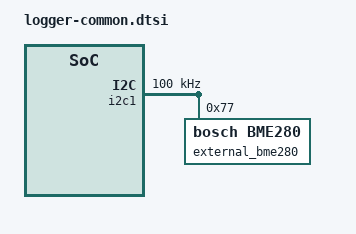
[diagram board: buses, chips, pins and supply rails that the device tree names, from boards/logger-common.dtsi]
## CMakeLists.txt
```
cmake_minimum_required(VERSION 3.20.0)
find_package(Zephyr REQUIRED HINTS $ENV{ZEPHYR_BASE})
project(link_logger LANGUAGES C)
target_include_directories(app PRIVATE include)
target_sources(app PRIVATE
  src/main.c src/app.c src/state.c src/sensors.c src/record.c
  src/timekeeping.c src/logging.c src/config.c src/com.c src/shell.c src/heartbeat.c)
target_compile_options(app PRIVATE -Wall -Wextra -Werror -Wformat=2)
```

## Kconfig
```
mainmenu "LINK environmental logger"
source "Kconfig.zephyr"
```

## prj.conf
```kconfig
# Sleep until a real event or the next active sampling/flush deadline.
CONFIG_TICKLESS_KERNEL=y
CONFIG_GPIO=y
CONFIG_I2C=y
CONFIG_SENSOR=y
CONFIG_BME280=y
CONFIG_BME280_MODE_FORCED=y
CONFIG_BME280_TEMP_OVER_1X=y
CONFIG_BME280_PRESS_OVER_1X=y
CONFIG_BME280_HUMIDITY_OVER_1X=y
CONFIG_BME280_FILTER_OFF=y

CONFIG_FLASH=y
CONFIG_FLASH_MAP=y
CONFIG_FLASH_PAGE_LAYOUT=y
CONFIG_FILE_SYSTEM=y
CONFIG_FILE_SYSTEM_LITTLEFS=y
CONFIG_FILE_SYSTEM_MKFS=y

CONFIG_SERIAL=y
CONFIG_CONSOLE=y
CONFIG_UART_CONSOLE=y
CONFIG_USB_DEVICE_STACK=y
CONFIG_USB_DEVICE_INITIALIZE_AT_BOOT=y
CONFIG_USB_CDC_ACM=y
CONFIG_UART_LINE_CTRL=y
CONFIG_USB_DEVICE_PRODUCT="LINK BME280 Logger"
CONFIG_SHELL=y
CONFIG_SHELL_BACKEND_SERIAL=y
# com.c checks DTR without the shell backend's periodic polling timer.
CONFIG_SHELL_BACKEND_SERIAL_CHECK_DTR=n
CONFIG_SHELL_BACKEND_SERIAL_RX_RING_BUFFER_SIZE=256
CONFIG_SHELL_BACKEND_SERIAL_TX_RING_BUFFER_SIZE=1024
CONFIG_SHELL_STACK_SIZE=3072
CONFIG_SHELL_CMD_BUFF_SIZE=160
# Plain serial output for terminal capture, including after reboot.
CONFIG_SHELL_PROMPT_UART=""
# Bind the empty default directly; this Zephyr pin rejects empty runtime prompts.
CONFIG_SHELL_PROMPT_CHANGE=n
CONFIG_SHELL_VT100_COLORS=n
CONFIG_SHELL_VT100_COMMANDS=n
CONFIG_SHELL_CMDS_SELECT=y
CONFIG_SHELL_CMDS=y
CONFIG_LOG=y
CONFIG_LOG_MODE_DEFERRED=y
CONFIG_LOG_RUNTIME_FILTERING=y
CONFIG_LOG_MAX_LEVEL=4
CONFIG_LOG_DEFAULT_LEVEL=3
CONFIG_LOG_BACKEND_UART=n
CONFIG_SHELL_LOG_BACKEND=y
CONFIG_LOG_CMDS=n
CONFIG_LOG_BUFFER_SIZE=2048

CONFIG_MAIN_STACK_SIZE=4096
CONFIG_SYSTEM_WORKQUEUE_STACK_SIZE=1536
CONFIG_HEAP_MEM_POOL_SIZE=0
CONFIG_THREAD_NAME=y
CONFIG_ASSERT=y
CONFIG_REBOOT=y
CONFIG_BT=n
CONFIG_NETWORKING=n

# Only the application core is used; SWD flashing replaces the factory bootloader.
CONFIG_BOOTLOADER_MCUBOOT=n
CONFIG_BOARD_ENABLE_CPUNET=n
CONFIG_NORDIC_QSPI_NOR=y
CONFIG_PM_DEVICE=y
CONFIG_PM_DEVICE_RUNTIME=y

CONFIG_SHELL_BACKEND_SERIAL_LOG_LEVEL_INF=y
CONFIG_LOG_BLOCK_IN_THREAD=n
CONFIG_LOG_PROCESS_TRIGGER_THRESHOLD=1

# QSPI flash has its own driver; no SPI sensor or bus is used.
CONFIG_SPI=n
```

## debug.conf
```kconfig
CONFIG_DEBUG=y
CONFIG_DEBUG_OPTIMIZATIONS=y
CONFIG_DEBUG_THREAD_INFO=y
CONFIG_THREAD_MONITOR=y
```

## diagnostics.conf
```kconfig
# Opt-in hardware diagnostics; normal logger builds do not expose I2C commands.
CONFIG_I2C_SHELL=y
```

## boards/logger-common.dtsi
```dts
/* Both supported boards have an 8 MiB MX25R64 QSPI device. */
/delete-node/ &storage_partition;

/ {
	aliases {
		environment-sensor = &external_bme280;
	};

	chosen {
		/delete-property/ zephyr,bt-hci;
		/delete-property/ zephyr,bt-hci-ipc;
		/delete-property/ zephyr,bt-mon-uart;
		/delete-property/ zephyr,bt-c2h-uart;
		/delete-property/ nordic,802154-spinel-ipc;
		/delete-property/ zephyr,ieee802154;
	};
};

&mx25r64 {
	zephyr,pm-device-runtime-auto;

	partitions {
		compatible = "fixed-partitions";
		#address-cells = <1>;
		#size-cells = <1>;

		/* Leave lower 4 MiB, including Thingy factory DFU slots, alone. */
		storage_partition: partition@400000 {
			label = "logger-storage";
			reg = <0x400000 0x400000>;
		};
	};
};

&i2c1 {
	compatible = "nordic,nrf-twim";
	status = "okay";
	clock-frequency = <I2C_BITRATE_STANDARD>;
	pinctrl-0 = <&logger_i2c_default>;
	pinctrl-1 = <&logger_i2c_sleep>;
	pinctrl-names = "default", "sleep";

	external_bme280: bme280@77 {
		compatible = "bosch,bme280";
		reg = <0x77>;
	};
};

/* UART1/SPI1 share I2C1's peripheral instance. Console is USB CDC ACM. */
&uart1 { status = "disabled"; };
&spi1 { status = "disabled"; };
&uart0 { status = "disabled"; };
&spi0 { status = "disabled"; };
&i2c0 { status = "disabled"; };
&adc { status = "disabled"; };
&pwm0 { status = "disabled"; };
&spi4 { status = "disabled"; };
&gpio_fwd { status = "disabled"; };
&bt_hci_ipc0 { status = "disabled"; };
&ieee802154 { status = "disabled"; };
```

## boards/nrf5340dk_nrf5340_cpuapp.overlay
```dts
#include <../boards/common/usb/cdc_acm_serial.dtsi>
#include "logger-common.dtsi"

/* CDC ACM is on the DK's nRF USB connector, not its J-Link USB connector. */
/ {
	aliases {
		heartbeat-led = &led0;
	};
};

&pinctrl {
	logger_i2c_default: logger_i2c_default {
		group1 {
			psels = <NRF_PSEL(TWIM_SCL, 1, 3)>,
				<NRF_PSEL(TWIM_SDA, 1, 2)>;
		};
	};

	logger_i2c_sleep: logger_i2c_sleep {
		group1 {
			psels = <NRF_PSEL(TWIM_SCL, 1, 3)>,
				<NRF_PSEL(TWIM_SDA, 1, 2)>;
			low-power-enable;
		};
	};
};
```

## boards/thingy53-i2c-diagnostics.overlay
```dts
/* The normal sensor bus is I2C1 on TP4/TP5. Optionally expose the edge bus too. */
&pinctrl {
	diagnostic_i2c_default: diagnostic_i2c_default {
		group1 {
			psels = <NRF_PSEL(TWIM_SCL, 0, 5)>,
				<NRF_PSEL(TWIM_SDA, 0, 4)>;
		};
	};

	diagnostic_i2c_sleep: diagnostic_i2c_sleep {
		group1 {
			psels = <NRF_PSEL(TWIM_SCL, 0, 5)>,
				<NRF_PSEL(TWIM_SDA, 0, 4)>;
			low-power-enable;
		};
	};
};

&i2c0 {
	compatible = "nordic,nrf-twim";
	status = "okay";
	clock-frequency = <I2C_BITRATE_STANDARD>;
	pinctrl-0 = <&diagnostic_i2c_default>;
	pinctrl-1 = <&diagnostic_i2c_sleep>;
	pinctrl-names = "default", "sleep";
};
```

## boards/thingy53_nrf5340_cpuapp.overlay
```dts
#include "logger-common.dtsi"

/* Hardware 1.1.0 schematic: TP4 = SDA/P1.02, TP5 = SCL/P1.03. */
/ {
	aliases {
		heartbeat-led = &green_led;
	};
};

&pinctrl {
	logger_i2c_default: logger_i2c_default {
		group1 {
			psels = <NRF_PSEL(TWIM_SCL, 1, 3)>,
				<NRF_PSEL(TWIM_SDA, 1, 2)>;
		};
	};

	logger_i2c_sleep: logger_i2c_sleep {
		group1 {
			psels = <NRF_PSEL(TWIM_SCL, 1, 3)>,
				<NRF_PSEL(TWIM_SDA, 1, 2)>;
			low-power-enable;
		};
	};
};

/* Keep board-default rails enabled: 3V3 powers the green LED, and the switched
 * sensor rail powers the TP4/TP5 bus pull-ups. QSPI still uses DPD.
 */

&bme688 { status = "disabled"; };
&bmm150 { status = "disabled"; };
&bh1749 { status = "disabled"; };
&adxl362 { status = "disabled"; };
&bmi270 { status = "disabled"; };
&spi3 { status = "disabled"; };
&pwm1 { status = "disabled"; };
&vbatt { status = "disabled"; };
&fuel_gauge { status = "disabled"; };
```

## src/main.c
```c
#include "app.h"

int main(void)
{
	app_run();
	return 0;
}
```

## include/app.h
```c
#ifndef LOGGER_APP_H_
#define LOGGER_APP_H_

#include <stdint.h>

enum app_command_type {
	APP_STATUS,
	APP_LOG_START,
	APP_LOG_STOP,
	APP_LOG_FLUSH,
	APP_LOG_LIST,
	APP_LOG_DUMP,
	APP_STREAM_START,
	APP_STREAM_STOP,
	APP_TIME_GET,
	APP_TIME_SET,
	APP_CONFIG_SHOW,
	APP_CONFIG_LOG_RATE,
	APP_CONFIG_STREAM_RATE,
	APP_CONFIG_FLUSH_RATE,
	APP_CONFIG_SAVE,
	APP_STORAGE_FORMAT,
};

struct app_command {
	enum app_command_type type;
	uint32_t value;
	char text[48];
};

/* Copies the command; never waits for the application worker. */
int app_submit(const struct app_command *command);
void app_run(void);

#endif /* LOGGER_APP_H_ */
```

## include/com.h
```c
#ifndef LOGGER_COM_H_
#define LOGGER_COM_H_

#include <stdbool.h>
#include <stdint.h>

struct sensor_record;

void com_init(void);
bool com_ready(void);
void com_print(const char *fmt, ...) __attribute__((format(printf, 1, 2)));

/* Enqueue a line with a bounded wait; negative errno means it was not accepted. */
int com_emit(const char *line, void *context);

/* Sampling never waits for the USB host. A full queue drops this stream record. */
int com_stream(const struct sensor_record *record);
uint32_t com_dropped_count(void);

#endif /* LOGGER_COM_H_ */
```

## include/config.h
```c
#ifndef LOGGER_CONFIG_H
#define LOGGER_CONFIG_H

#include <stdbool.h>
#include <stdint.h>

struct logger_config {
	uint32_t log_rate_ms;
	uint32_t stream_rate_ms;
	uint32_t flush_rate_ms;
};

void config_defaults(struct logger_config *config);
bool config_rate_valid(uint32_t rate_ms);
/* Application thread only. A failed load leaves the supplied config intact. */
int config_load(struct logger_config *config);
int config_save(const struct logger_config *config);

#endif
```

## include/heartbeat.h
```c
#ifndef LOGGER_HEARTBEAT_H
#define LOGGER_HEARTBEAT_H

/* Call once from the application thread. First 100 ms pulse follows after 10 s. */
int heartbeat_init(void);

#endif
```

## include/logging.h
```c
#ifndef LOGGER_LOGGING_H
#define LOGGER_LOGGING_H

#include <stdbool.h>

struct sensor_record;

#define LOG_NAME_MAX 48
#define LOG_MOUNT_POINT "/lfs"

typedef int (*log_emit_fn)(const char *line, void *context);

/* All calls belong to the application thread. Mounting never formats flash. */
int logging_init(void);
bool logging_ready(void);
int logging_format(void);
int logging_start(const char *name);
int logging_append(const struct sensor_record *record);
int logging_flush(void);
/* Always attempts close, even if the final sync fails. */
int logging_stop(void);
int logging_list(log_emit_fn emit, void *context);
int logging_dump(const char *name, log_emit_fn emit, void *context);

#endif
```

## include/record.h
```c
#ifndef LOGGER_RECORD_H
#define LOGGER_RECORD_H

#include <stddef.h>
#include <stdint.h>

#define RECORD_CSV_HEADER "uptime_ms,epoch_ms,temperature_C,humidity_pct,pressure_hPa"
#define RECORD_LEGACY_CSV_HEADER "uptime_ms,epoch_ms,temperature_mC,humidity_mpercent,pressure_Pa"
#define RECORD_STREAM_HEADER RECORD_CSV_HEADER
#define RECORD_TEXT_SIZE 112U

struct sensor_record {
	int64_t uptime_ms;
	/* -1 means UTC has not been set since boot. */
	int64_t epoch_ms;
	int32_t temperature_mc;
	int32_t humidity_mpct;
	int32_t pressure_pa;
};

/* CSV in degrees C, percent RH and hPa. Returns length or negative errno; no newline. */
int record_format(const struct sensor_record *record, char *buffer, size_t size);

/* Parse an old integer CSV row without a newline; output is unchanged on error. */
int record_parse_legacy(const char *line, struct sensor_record *record);

#endif
```

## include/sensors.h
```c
#ifndef LOGGER_SENSORS_H
#define LOGGER_SENSORS_H

struct sensor_record;

/* Application thread only; failed reads leave the record unchanged. */
int sensors_init(void);
int sensors_read(struct sensor_record *record);

#endif
```

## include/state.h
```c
#ifndef LOGGER_STATE_H
#define LOGGER_STATE_H

#include <stdbool.h>

enum app_state { STATE_IDLE, STATE_LOGGING, STATE_STREAMING, STATE_BOTH };
enum state_event { STATE_START_LOG, STATE_STOP_LOG, STATE_START_STREAM, STATE_STOP_STREAM };

/* Commit the returned state only after the requested resource operation succeeds. */
enum app_state state_next(enum app_state current, enum state_event event);
bool state_logs(enum app_state state);
bool state_streams(enum app_state state);
const char *state_name(enum app_state state);

#endif
```

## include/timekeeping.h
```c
#ifndef LOGGER_TIMEKEEPING_H
#define LOGGER_TIMEKEEPING_H

#include <stddef.h>
#include <stdint.h>

/* All calls belong to the application thread. No hardware RTC is assumed. */
void timekeeping_reset(void);
/* UTC only: exact YYYY-MM-DDTHH:MM:SSZ, years 1970..9999. */
int timekeeping_set(const char *iso, int64_t uptime_ms);
/* Returns -1 when unset, before the anchor, or outside the supported range. */
int64_t timekeeping_epoch_ms(int64_t uptime_ms);
/* Formats UTC to whole seconds, or "unset" for -1. Returns 0 or negative errno. */
int timekeeping_format(int64_t epoch_ms, char *buffer, size_t size);

#endif
```

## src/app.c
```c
#include "app.h"
#include "com.h"
#include "config.h"
#include "heartbeat.h"
#include "logging.h"
#include "record.h"
#include "sensors.h"
#include "state.h"
#include "timekeeping.h"

#include <errno.h>
#include <inttypes.h>
#include <limits.h>
#include <string.h>
#include <zephyr/kernel.h>
#include <zephyr/logging/log.h>

LOG_MODULE_REGISTER(app, LOG_LEVEL_DBG);
K_MSGQ_DEFINE(commands, sizeof(struct app_command), 8, 4);

/* This thread alone owns application state, the clock and all filesystem IO. */
static struct {
	enum app_state state;
	struct logger_config config;
	int64_t next_log;
	int64_t next_stream;
	int64_t next_flush;
	uint32_t sensor_errors;
	int last_error;
	bool sensor_ready;
} app;

int app_submit(const struct app_command *command)
{
	if (command == NULL || (unsigned int)command->type > APP_STORAGE_FORMAT ||
	    memchr(command->text, '\0', sizeof(command->text)) == NULL) {
		return -EINVAL;
	}
	return k_msgq_put(&commands, command, K_NO_WAIT);
}

static void stop_recording_on_error(int error)
{
	/* A storage failure must leave independent streaming running. */
	int close_error = logging_stop();

	app.state = state_next(app.state, STATE_STOP_LOG);
	app.last_error = error;
	LOG_ERR("Recording stopped: %d (close: %d)", error, close_error);
	com_print("Recording stopped: %d; state=%s", error, state_name(app.state));
}

static int change_rate(enum app_command_type type, uint32_t value)
{
	if (!config_rate_valid(value)) {
		return -ERANGE;
	}
	int64_t now = k_uptime_get();

	switch (type) {
	case APP_CONFIG_LOG_RATE:
		app.config.log_rate_ms = value;
		app.next_log = now + value;
		break;
	case APP_CONFIG_STREAM_RATE:
		app.config.stream_rate_ms = value;
		app.next_stream = now + value;
		break;
	case APP_CONFIG_FLUSH_RATE:
		app.config.flush_rate_ms = value;
		app.next_flush = now + value;
		break;
	default:
		return -EINVAL;
	}
	return 0;
}

static int handle_command(const struct app_command *command)
{
	int err;
	int64_t now = k_uptime_get();

	switch (command->type) {
	case APP_STATUS:
		com_print("state=%s sensor=%s storage=%s last_error=%d sensor_errors=%" PRIu32
			  " output_dropped=%" PRIu32,
			  state_name(app.state), app.sensor_ready ? "ready" : "unavailable",
			  logging_ready() ? "ready" : "unavailable", app.last_error,
			  app.sensor_errors, com_dropped_count());
		return 0;
	case APP_LOG_START:
		if (state_logs(app.state)) {
			return -EALREADY;
		}
		if (!app.sensor_ready) {
			return -ENODEV;
		}
		err = logging_start(command->text[0] ? command->text : "readings.csv");
		if (err != 0) {
			return err;
		}
		app.state = state_next(app.state, STATE_START_LOG);
		app.next_log =
		    state_streams(app.state) && app.config.log_rate_ms == app.config.stream_rate_ms
			? app.next_stream
			: now;
		app.next_flush = now + app.config.flush_rate_ms;
		return 0;
	case APP_LOG_STOP:
		if (!state_logs(app.state)) {
			return 0;
		}
		err = logging_stop();
		app.state = state_next(app.state, STATE_STOP_LOG);
		return err;
	case APP_LOG_FLUSH:
		err = logging_flush();
		if (err != 0 && state_logs(app.state)) {
			stop_recording_on_error(err);
		}
		return err;
	case APP_STREAM_START:
		if (!app.sensor_ready) {
			return -ENODEV;
		}
		if (state_streams(app.state)) {
			return -EALREADY;
		}
		app.state = state_next(app.state, STATE_START_STREAM);
		app.next_stream =
		    state_logs(app.state) && app.config.stream_rate_ms == app.config.log_rate_ms
			? app.next_log
			: now;
		com_print(RECORD_STREAM_HEADER);
		return 0;
	case APP_STREAM_STOP:
		app.state = state_next(app.state, STATE_STOP_STREAM);
		return 0;
	case APP_LOG_LIST:
	case APP_LOG_DUMP:
		if (app.state != STATE_IDLE) {
			return -EBUSY;
		}
		return command->type == APP_LOG_LIST ? logging_list(com_emit, NULL)
						     : logging_dump(command->text, com_emit, NULL);
	case APP_TIME_SET:
		return timekeeping_set(command->text, now);
	case APP_TIME_GET: {
		char timestamp[24];
		int64_t epoch_ms = timekeeping_epoch_ms(now);

		err = timekeeping_format(epoch_ms, timestamp, sizeof(timestamp));
		if (err == 0) {
			com_print("UTC=%s epoch_ms=%" PRId64 " uptime_ms=%" PRId64, timestamp,
				  epoch_ms, now);
		}
		return err;
	}
	case APP_CONFIG_SHOW:
		com_print(
		    "log_rate_ms=%" PRIu32 " stream_rate_ms=%" PRIu32 " flush_rate_ms=%" PRIu32,
		    app.config.log_rate_ms, app.config.stream_rate_ms, app.config.flush_rate_ms);
		return 0;
	case APP_CONFIG_LOG_RATE:
	case APP_CONFIG_STREAM_RATE:
	case APP_CONFIG_FLUSH_RATE:
		return change_rate(command->type, command->value);
	case APP_CONFIG_SAVE:
		return config_save(&app.config);
	case APP_STORAGE_FORMAT:
		if (app.state != STATE_IDLE || strcmp(command->text, "CONFIRM") != 0) {
			return -EPERM;
		}
		err = logging_format();
		if (err == 0) {
			config_defaults(&app.config);
		}
		return err;
	default:
		return -EINVAL;
	}
}

/* Preserve cadence during normal conversions; skip missed slots after a stall. */
static int64_t next_sample_deadline(int64_t previous, uint32_t period_ms, int64_t now)
{
	int64_t next = previous + period_ms;
	return next > now ? next : now + period_ms;
}

static void sample_if_due(int64_t now)
{
	bool log_due = state_logs(app.state) && now >= app.next_log;
	bool stream_due = state_streams(app.state) && now >= app.next_stream;

	if (log_due || stream_due) {
		struct sensor_record record = {0};
		int err = sensors_read(&record);
		int64_t acquired = k_uptime_get();

		/* No catch-up bursts after a slow peripheral operation. */
		if (log_due) {
			app.next_log =
			    next_sample_deadline(app.next_log, app.config.log_rate_ms, acquired);
		}
		if (stream_due) {
			app.next_stream = next_sample_deadline(app.next_stream,
							       app.config.stream_rate_ms, acquired);
		}
		if (err == 0) {
			record.uptime_ms = acquired;
			record.epoch_ms = timekeeping_epoch_ms(acquired);
			if (log_due) {
				err = logging_append(&record);
				if (err != 0) {
					stop_recording_on_error(err);
				}
			}
			if (stream_due) {
				/* Output loss is counted by com; recording remains independent. */
				(void)com_stream(&record);
			}
		} else {
			app.sensor_errors++;
			app.last_error = err;
			LOG_WRN("Sensor read failed: %d", err);
		}
	}
	if (state_logs(app.state) && k_uptime_get() >= app.next_flush) {
		int err = logging_flush();

		app.next_flush = k_uptime_get() + app.config.flush_rate_ms;
		if (err != 0) {
			stop_recording_on_error(err);
		}
	}
}

static k_timeout_t next_timeout(void)
{
	int64_t deadline = INT64_MAX;

	if (state_logs(app.state)) {
		deadline = MIN(app.next_log, app.next_flush);
	}
	if (state_streams(app.state)) {
		deadline = MIN(deadline, app.next_stream);
	}
	return deadline == INT64_MAX ? K_FOREVER : K_MSEC(MAX(0, deadline - k_uptime_get()));
}

void app_run(void)
{
	struct app_command command;
	int err;

	k_thread_name_set(k_current_get(), "application");
	com_init();
	err = heartbeat_init();
	if (err != 0) {
		LOG_WRN("Power LED unavailable: %d", err);
	}
	config_defaults(&app.config);
	err = sensors_init();
	app.sensor_ready = (err == 0);
	if (err != 0) {
		app.last_error = err;
		LOG_ERR("BME280 unavailable: %d", err);
	}
	err = logging_init();
	if (err == 0) {
		err = config_load(&app.config);
		if (err != 0 && err != -ENOENT) {
			LOG_WRN("config.cfg rejected (%d); using defaults", err);
		}
	} else {
		app.last_error = err;
		LOG_WRN("Storage not mounted (%d); format explicitly if new", err);
	}
	LOG_INF("Ready: idle, UTC unset; use time set, log start, stream start");
	for (;;) {
		if (k_msgq_get(&commands, &command, next_timeout()) == 0) {
			err = handle_command(&command);
			if (err != 0) {
				app.last_error = err;
				com_print("Command %u failed: %d", (unsigned int)command.type, err);
			} else {
				com_print("Done; state=%s", state_name(app.state));
			}
		}
		/* Check deadlines even under a continuous stream of CLI commands. */
		sample_if_due(k_uptime_get());
	}
}
```

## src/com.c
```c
#include "com.h"

#include <errno.h>
#include <stdarg.h>
#include <stdio.h>
#include <string.h>

#include <zephyr/device.h>
#include <zephyr/devicetree.h>
#include <zephyr/drivers/uart.h>
#include <zephyr/kernel.h>
#include <zephyr/logging/log.h>
#include <zephyr/shell/shell.h>
#include <zephyr/shell/shell_uart.h>
#include <zephyr/sys/atomic.h>

#include "record.h"

LOG_MODULE_REGISTER(com, LOG_LEVEL_DBG);

#define COM_LINE_SIZE 192
#define COM_QUEUE_DEPTH 16

struct com_line {
	char text[COM_LINE_SIZE];
};

static const struct device *const serial = DEVICE_DT_GET(DT_CHOSEN(zephyr_shell_uart));
static atomic_t dropped_lines;

K_MSGQ_DEFINE(output_queue, sizeof(struct com_line), COM_QUEUE_DEPTH, 4);

bool com_ready(void)
{
	uint32_t dtr = 0;

	return device_is_ready(serial) &&
	       uart_line_ctrl_get(serial, UART_LINE_CTRL_DTR, &dtr) == 0 && dtr != 0;
}

static int enqueue(const char *line, k_timeout_t timeout)
{
	struct com_line output = {0};

	if (line == NULL) {
		return -EINVAL;
	}
	if (strlen(line) >= sizeof(output.text)) {
		atomic_inc(&dropped_lines);
		return -EMSGSIZE;
	}
	if (!com_ready()) {
		atomic_inc(&dropped_lines);
		return -ENOTCONN;
	}

	memcpy(output.text, line, strlen(line) + 1);
	if (k_msgq_put(&output_queue, &output, timeout) != 0) {
		atomic_inc(&dropped_lines);
		return -EAGAIN;
	}
	return 0;
}

static void output_thread(void *unused1, void *unused2, void *unused3)
{
	struct com_line output;

	ARG_UNUSED(unused1);
	ARG_UNUSED(unused2);
	ARG_UNUSED(unused3);

	for (;;) {
		(void)k_msgq_get(&output_queue, &output, K_FOREVER);
		const struct shell *shell = shell_backend_uart_get_ptr();

		if (shell != NULL && com_ready()) {
			/* Shell TX can wait on USB. Only this thread may wait here. */
			shell_print(shell, "%s", output.text);
		} else {
			atomic_inc(&dropped_lines);
		}
	}
}

K_THREAD_DEFINE(com_tx, 2048, output_thread, NULL, NULL, NULL, 8, 0, 0);

void com_init(void)
{
	/* Zephyr starts USB and the shell. Never wait here for a host connection. */
	if (!device_is_ready(serial)) {
		LOG_ERR("USB serial device is unavailable");
	}
}

void com_print(const char *fmt, ...)
{
	char line[COM_LINE_SIZE];
	va_list args;

	if (fmt == NULL) {
		return;
	}
	va_start(args, fmt);
	int length = vsnprintf(line, sizeof(line), fmt, args);
	va_end(args);
	if (length < 0 || (size_t)length >= sizeof(line)) {
		atomic_inc(&dropped_lines);
		return;
	}
	(void)enqueue(line, K_NO_WAIT);
}

int com_emit(const char *line, void *context)
{
	ARG_UNUSED(context);
	return enqueue(line, K_MSEC(250));
}

int com_stream(const struct sensor_record *record)
{
	char line[COM_LINE_SIZE];
	int length = record_format(record, line, sizeof(line));

	if (length < 0) {
		return length;
	}
	return enqueue(line, K_NO_WAIT);
}

uint32_t com_dropped_count(void)
{
	return (uint32_t)atomic_get(&dropped_lines);
}
```

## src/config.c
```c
#include "config.h"

#include "logging.h"

#include <errno.h>
#include <inttypes.h>
#include <string.h>
#include <zephyr/fs/fs.h>
#include <zephyr/sys/printk.h>

#define CONFIG_PATH LOG_MOUNT_POINT "/config.cfg"
#define CONFIG_TEMP_PATH LOG_MOUNT_POINT "/config.tmp"
#define CONFIG_TEXT_SIZE 192

void config_defaults(struct logger_config *config)
{
	if (config != NULL) {
		*config = (struct logger_config){
		    .log_rate_ms = 30000,
		    .stream_rate_ms = 30000,
		    .flush_rate_ms = 10000,
		};
	}
}

bool config_rate_valid(uint32_t rate_ms)
{
	return rate_ms >= 100 && rate_ms <= 3600000;
}

static int parse_rate(const char *text, uint32_t *value)
{
	if (*text == '\0') {
		return -EINVAL;
	}
	uint32_t parsed = 0;
	for (; *text != '\0'; ++text) {
		if (*text < '0' || *text > '9' || parsed > 360000) {
			return -EINVAL;
		}
		parsed = parsed * 10 + (uint32_t)(*text - '0');
	}
	if (!config_rate_valid(parsed)) {
		return -EINVAL;
	}
	*value = parsed;
	return 0;
}

static int parse_config(char *text, struct logger_config *config)
{
	unsigned int seen = 0;
	while (*text != '\0') {
		char *line = text;
		char *end = strchr(line, '\n');
		if (end != NULL) {
			*end = '\0';
			text = end + 1;
		} else {
			text += strlen(text);
		}
		size_t length = strlen(line);
		if (length != 0 && line[length - 1] == '\r') {
			line[--length] = '\0';
		}
		char *separator = strchr(line, '=');
		if (separator == NULL) {
			return -EINVAL;
		}
		*separator++ = '\0';
		uint32_t *destination;
		unsigned int bit;
		if (strcmp(line, "log_rate_ms") == 0) {
			destination = &config->log_rate_ms;
			bit = 1;
		} else if (strcmp(line, "stream_rate_ms") == 0) {
			destination = &config->stream_rate_ms;
			bit = 2;
		} else if (strcmp(line, "flush_rate_ms") == 0) {
			destination = &config->flush_rate_ms;
			bit = 4;
		} else {
			return -EINVAL;
		}
		if ((seen & bit) != 0 || parse_rate(separator, destination) != 0) {
			return -EINVAL;
		}
		seen |= bit;
	}
	return seen == 7 ? 0 : -EINVAL;
}

int config_load(struct logger_config *config)
{
	if (config == NULL) {
		return -EINVAL;
	}
	if (!logging_ready()) {
		return -ENODEV;
	}
	struct fs_file_t file;
	fs_file_t_init(&file);
	int result = fs_open(&file, CONFIG_PATH, FS_O_READ);
	if (result != 0) {
		return result;
	}
	char text[CONFIG_TEXT_SIZE];
	size_t used = 0;
	while (used < sizeof(text) - 1) {
		ssize_t count = fs_read(&file, text + used, sizeof(text) - 1 - used);
		if (count <= 0) {
			result = (int)count;
			break;
		}
		used += (size_t)count;
	}
	if (result == 0 && used == sizeof(text) - 1) {
		char extra;
		ssize_t count = fs_read(&file, &extra, 1);
		result = count < 0 ? (int)count : (count == 0 ? 0 : -EFBIG);
	}
	int close_result = fs_close(&file);
	if (result != 0 || close_result != 0) {
		return result != 0 ? result : close_result;
	}
	if (memchr(text, '\0', used) != NULL) {
		return -EINVAL;
	}
	text[used] = '\0';
	struct logger_config candidate = {0};
	result = parse_config(text, &candidate);
	if (result == 0) {
		*config = candidate;
	}
	return result;
}

int config_save(const struct logger_config *config)
{
	if (config == NULL || !config_rate_valid(config->log_rate_ms) ||
	    !config_rate_valid(config->stream_rate_ms) ||
	    !config_rate_valid(config->flush_rate_ms)) {
		return -EINVAL;
	}
	if (!logging_ready()) {
		return -ENODEV;
	}
	char text[CONFIG_TEXT_SIZE];
	int length = snprintk(text, sizeof(text),
			      "log_rate_ms=%" PRIu32 "\nstream_rate_ms=%" PRIu32
			      "\nflush_rate_ms=%" PRIu32 "\n",
			      config->log_rate_ms, config->stream_rate_ms, config->flush_rate_ms);
	if (length < 0 || (size_t)length >= sizeof(text)) {
		return -EOVERFLOW;
	}
	struct fs_file_t file;
	fs_file_t_init(&file);
	int result = fs_open(&file, CONFIG_TEMP_PATH, FS_O_CREATE | FS_O_WRITE | FS_O_TRUNC);
	if (result != 0) {
		return result;
	}
	ssize_t written = fs_write(&file, text, (size_t)length);
	result = written < 0 ? (int)written : (written == length ? 0 : -EIO);
	if (result == 0) {
		result = fs_sync(&file);
	}
	int close_result = fs_close(&file);
	if (result == 0) {
		result = close_result;
	}
	if (result == 0) {
		/* LittleFS renames atomically; do not unlink the old config first. */
		result = fs_rename(CONFIG_TEMP_PATH, CONFIG_PATH);
	}
	if (result != 0) {
		(void)fs_unlink(CONFIG_TEMP_PATH);
	}
	return result;
}
```
